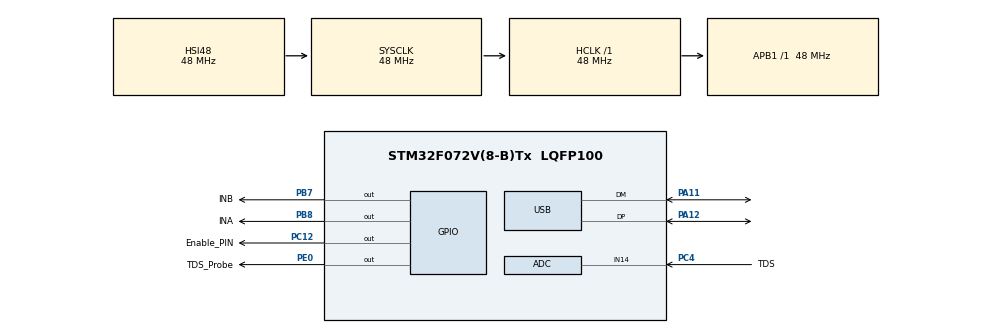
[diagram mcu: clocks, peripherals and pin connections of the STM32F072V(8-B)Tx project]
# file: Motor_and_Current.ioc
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Mcu.Family=STM32F0
Mcu.Name=STM32F072V(8-B)Tx
Mcu.Package=LQFP100
NVIC.USB_IRQn=true\:0\:0\:false\:false\:true\:false\:true\:true
PA11.Mode=Device
PA11.Signal=USB_DM
PA12.Mode=Device
PA12.Signal=USB_DP
PB0.Signal=ADC_IN8
PB1.Signal=ADC_IN9
PB7.GPIO_Label=INB
PB7.Signal=GPIO_Output
PB8.GPIO_Label=INA
PB8.Signal=GPIO_Output
PC12.GPIO_Label=Enable_PIN
PC12.Signal=GPIO_Output
PC4.GPIO_Label=TDS
PC4.Mode=IN14
PC4.Signal=ADC_IN14
PE0.GPIO_Label=TDS_Probe
PE0.Signal=GPIO_Output
ProjectManager.HeapSize=0x200
ProjectManager.StackSize=0x400
ProjectManager.TargetToolchain=STM32CubeIDE
RCC.AHBFreq_Value=48000000
RCC.APB1Freq_Value=48000000
RCC.APB1TimFreq_Value=48000000
RCC.HCLKFreq_Value=48000000
RCC.PLLSourceVirtual=RCC_PLLSOURCE_HSI48
RCC.SYSCLKFreq_VALUE=48000000
RCC.SYSCLKSource=RCC_SYSCLKSOURCE_HSI48
USB_DEVICE.CLASS_NAME_FS=CDC
USB_DEVICE.VirtualMode=Cdc
USB_DEVICE.VirtualModeFS=Cdc_FS
VP_USB_DEVICE_VS_USB_DEVICE_CDC_FS.Mode=CDC_FS
board=custom

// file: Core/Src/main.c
/* USER CODE BEGIN Header */
/**
  ******************************************************************************
  * @file           : main.c
  * @brief          : Main program body
  ******************************************************************************
  * @attention
  *
  * Copyright (c) 2024 STMicroelectronics.
  * All rights reserved.
  *
  * This software is licensed under terms that can be found in the LICENSE file
  * in the root directory of this software component.
  * If no LICENSE file comes with this software, it is provided AS-IS.
  *
  ******************************************************************************
  */
/* USER CODE END Header */
#include "main.h"
#include "usb_device.h"

ADC_HandleTypeDef hadc;

void SystemClock_Config(void);
static void MX_GPIO_Init(void);
static void MX_ADC_Init(void);

int main(void)
{
  /* USER CODE BEGIN 1 */
	char data[64] = {0};
  /* USER CODE END 1 */

  /* MCU Configuration--------------------------------------------------------*/

  /* Reset of all peripherals, Initializes the Flash interface and the Systick. */
  HAL_Init();

  /* Configure the system clock */
  SystemClock_Config();

  /* Initialize all configured peripherals */
  MX_GPIO_Init();
  MX_ADC_Init();
  MX_USB_DEVICE_Init();
  /* USER CODE BEGIN 2 */
		HAL_Delay (1000);
		HAL_GPIO_WritePin(INB_GPIO_Port, INB_Pin, GPIO_PIN_SET);

//		ADC_Select_CH8();

		// Start ADC Conversion
		HAL_ADC_Start(&hadc);
		// Poll ADC1 Peripheral & TimeOut = 1mSec
		HAL_ADC_PollForConversion(&hadc, 10);

		float adc_val = HAL_ADC_GetValue(&hadc); // get the adc value

		float Vref_PB0 = adc_val * 3.3/4096;

		HAL_GPIO_WritePin(INA_GPIO_Port, INA_Pin, GPIO_PIN_SET);

//		ADC_Select_CH9();
		// Start ADC Conversion
		HAL_ADC_Start(&hadc);
		// Poll ADC1 Peripheral & TimeOut = 1mSec
		HAL_ADC_PollForConversion(&hadc, 10);

		adc_val = HAL_ADC_GetValue(&hadc); // get the adc value
		float Vref_PB1 = adc_val * 3.3/4096;

		HAL_Delay (1000);

  /* USER CODE END 2 */

  /* Infinite loop */
  /* USER CODE BEGIN WHILE */

		// PB7 low >> -
		HAL_GPIO_WritePin(Enable_PIN_GPIO_Port, Enable_PIN_Pin, GPIO_PIN_SET);

		/*Configure GPIO pin Output Level */
		HAL_GPIO_WritePin(TDS_Probe_GPIO_Port, TDS_Probe_Pin, GPIO_PIN_SET);
		HAL_GPIO_WritePin(INB_GPIO_Port, INB_Pin, GPIO_PIN_RESET);
		HAL_GPIO_WritePin(INA_GPIO_Port, INA_Pin, GPIO_PIN_RESET);

		double voltage  = 0;
		double current = 0;
		//double ref = 0.467; //reference voltage (volts) when 0 current is flowing
		double sensitivity = 0.2 ; // volts/Amp
  /* USER CODE END 2 */

  /* Infinite loop */
  /* USER CODE BEGIN WHILE */
  while (1)
  {
//			ADC_Select_CH8();
			HAL_ADC_Start(&hadc);
			// Poll ADC1 Peripheral & TimeOut = 1mSec
			HAL_ADC_PollForConversion(&hadc, 100);

			adc_val = HAL_ADC_GetValue(&hadc); // get the adc value

//			voltage = adc_val * 3.3/4096; //reference voltage (volts) when 0 current is flowing

//			current = (voltage - Vref_PB0)/sensitivity;

			int len = sprintf(data, "RAW ADC Value %0.3f  voltage_PB1(volts) %0.3f \r\n",adc_val);//,voltage);

			CDC_Transmit_FS(data, len);

			HAL_ADC_Stop(&hadc);

    /* USER CODE END WHILE */

  }
}

void SystemClock_Config(void)
{
  RCC_OscInitTypeDef RCC_OscInitStruct = {0};
  RCC_ClkInitTypeDef RCC_ClkInitStruct = {0};
  RCC_PeriphCLKInitTypeDef PeriphClkInit = {0};

  /** Initializes the RCC Oscillators according to the specified parameters
  * in the RCC_OscInitTypeDef structure.
  */
  RCC_OscInitStruct.OscillatorType = RCC_OSCILLATORTYPE_HSI14|RCC_OSCILLATORTYPE_HSI48;
  RCC_OscInitStruct.HSI48State = RCC_HSI48_ON;
  RCC_OscInitStruct.HSI14State = RCC_HSI14_ON;
  RCC_OscInitStruct.HSI14CalibrationValue = 16;
  RCC_OscInitStruct.PLL.PLLState = RCC_PLL_NONE;
  if (HAL_RCC_OscConfig(&RCC_OscInitStruct) != HAL_OK)
  {
    Error_Handler();
  }

  /** Initializes the CPU, AHB and APB buses clocks
  */
  RCC_ClkInitStruct.ClockType = RCC_CLOCKTYPE_HCLK|RCC_CLOCKTYPE_SYSCLK
                              |RCC_CLOCKTYPE_PCLK1;
  RCC_ClkInitStruct.SYSCLKSource = RCC_SYSCLKSOURCE_HSI48;
  RCC_ClkInitStruct.AHBCLKDivider = RCC_SYSCLK_DIV1;
  RCC_ClkInitStruct.APB1CLKDivider = RCC_HCLK_DIV1;

  if (HAL_RCC_ClockConfig(&RCC_ClkInitStruct, FLASH_LATENCY_1) != HAL_OK)
  {
    Error_Handler();
  }
  PeriphClkInit.PeriphClockSelection = RCC_PERIPHCLK_USB;
  PeriphClkInit.UsbClockSelection = RCC_USBCLKSOURCE_HSI48;

  if (HAL_RCCEx_PeriphCLKConfig(&PeriphClkInit) != HAL_OK)
  {
    Error_Handler();
  }
}

static void MX_ADC_Init(void)
{

  ADC_ChannelConfTypeDef sConfig = {0};

  /** Configure the global features of the ADC (Clock, Resolution, Data Alignment and number of conversion)
  */
  hadc.Instance = ADC1;
  hadc.Init.ClockPrescaler = ADC_CLOCK_ASYNC_DIV1;
  hadc.Init.Resolution = ADC_RESOLUTION_12B;
  hadc.Init.DataAlign = ADC_DATAALIGN_RIGHT;
  hadc.Init.ScanConvMode = ADC_SCAN_DIRECTION_FORWARD;
  hadc.Init.EOCSelection = ADC_EOC_SINGLE_CONV;
  hadc.Init.LowPowerAutoWait = DISABLE;
  hadc.Init.LowPowerAutoPowerOff = DISABLE;
  hadc.Init.ContinuousConvMode = DISABLE;
  hadc.Init.DiscontinuousConvMode = DISABLE;
  hadc.Init.ExternalTrigConv = ADC_SOFTWARE_START;
  hadc.Init.ExternalTrigConvEdge = ADC_EXTERNALTRIGCONVEDGE_NONE;
  hadc.Init.DMAContinuousRequests = DISABLE;
  hadc.Init.Overrun = ADC_OVR_DATA_PRESERVED;
  if (HAL_ADC_Init(&hadc) != HAL_OK)
  {
    Error_Handler();
  }

  /** Configure for the selected ADC regular channel to be converted.
  */
  sConfig.Channel = ADC_CHANNEL_14;
  sConfig.Rank = ADC_RANK_CHANNEL_NUMBER;
  sConfig.SamplingTime = ADC_SAMPLETIME_1CYCLE_5;
  if (HAL_ADC_ConfigChannel(&hadc, &sConfig) != HAL_OK)
  {
    Error_Handler();
  }

}

static void MX_GPIO_Init(void)
{
  GPIO_InitTypeDef GPIO_InitStruct = {0};

  /* GPIO Ports Clock Enable */
  __HAL_RCC_GPIOC_CLK_ENABLE();
  __HAL_RCC_GPIOB_CLK_ENABLE();
  __HAL_RCC_GPIOA_CLK_ENABLE();
  __HAL_RCC_GPIOE_CLK_ENABLE();

  /*Configure GPIO pin Output Level */
  HAL_GPIO_WritePin(Enable_PIN_GPIO_Port, Enable_PIN_Pin, GPIO_PIN_RESET);

  /*Configure GPIO pin Output Level */
  HAL_GPIO_WritePin(GPIOB, INB_Pin|INA_Pin, GPIO_PIN_RESET);

  /*Configure GPIO pin Output Level */
  HAL_GPIO_WritePin(TDS_Probe_GPIO_Port, TDS_Probe_Pin, GPIO_PIN_RESET);

  /*Configure GPIO pin : Enable_PIN_Pin */
  GPIO_InitStruct.Pin = Enable_PIN_Pin;
  GPIO_InitStruct.Mode = GPIO_MODE_OUTPUT_PP;
  GPIO_InitStruct.Pull = GPIO_NOPULL;
  GPIO_InitStruct.Speed = GPIO_SPEED_FREQ_LOW;
  HAL_GPIO_Init(Enable_PIN_GPIO_Port, &GPIO_InitStruct);

  /*Configure GPIO pins : INB_Pin INA_Pin */
  GPIO_InitStruct.Pin = INB_Pin|INA_Pin;
  GPIO_InitStruct.Mode = GPIO_MODE_OUTPUT_PP;
  GPIO_InitStruct.Pull = GPIO_NOPULL;
  GPIO_InitStruct.Speed = GPIO_SPEED_FREQ_LOW;
  HAL_GPIO_Init(GPIOB, &GPIO_InitStruct);

  /*Configure GPIO pin : TDS_Probe_Pin */
  GPIO_InitStruct.Pin = TDS_Probe_Pin;
  GPIO_InitStruct.Mode = GPIO_MODE_OUTPUT_PP;
  GPIO_InitStruct.Pull = GPIO_NOPULL;
  GPIO_InitStruct.Speed = GPIO_SPEED_FREQ_LOW;
  HAL_GPIO_Init(TDS_Probe_GPIO_Port, &GPIO_InitStruct);

}

/* USER CODE BEGIN 4 */
void ADC_Select_CH8 (void)
{
	ADC_ChannelConfTypeDef sConfig = {0};
	  /** Configure for the selected ADC regular channel its corresponding rank in the sequencer and its sample time.
	  */
	sConfig.Channel = ADC_CHANNEL_9;
			  sConfig.Rank = ADC_RANK_NONE;
			  sConfig.SamplingTime = ADC_SAMPLETIME_1CYCLE_5;
			  if (HAL_ADC_ConfigChannel(&hadc, &sConfig) != HAL_OK)
			  {
			    Error_Handler();
			  }

	  sConfig.Channel = ADC_CHANNEL_8;
	  sConfig.Rank = ADC_RANK_CHANNEL_NUMBER;
	  sConfig.SamplingTime = ADC_SAMPLETIME_1CYCLE_5;
	  if (HAL_ADC_ConfigChannel(&hadc, &sConfig) != HAL_OK)
	  {
	    Error_Handler();
	  }
}
void ADC_Select_CH9 (void)
{
	ADC_ChannelConfTypeDef sConfig = {0};
	  /** Configure for the selected ADC regular channel its corresponding rank in the sequencer and its sample time.
	  */
	sConfig.Channel = ADC_CHANNEL_8;
		  sConfig.Rank = ADC_RANK_NONE;
		  sConfig.SamplingTime = ADC_SAMPLETIME_1CYCLE_5;
		  if (HAL_ADC_ConfigChannel(&hadc, &sConfig) != HAL_OK)
		  {
		    Error_Handler();
		  }

	  sConfig.Channel = ADC_CHANNEL_9;
	  sConfig.Rank = ADC_RANK_CHANNEL_NUMBER;
	  sConfig.SamplingTime = ADC_SAMPLETIME_1CYCLE_5;
	  if (HAL_ADC_ConfigChannel(&hadc, &sConfig) != HAL_OK)
	  {
	    Error_Handler();
	  }
}

/* USER CODE END 4 */

void Error_Handler(void)
{
  __disable_irq();
  while (1)
  {
  }
}

#ifdef  USE_FULL_ASSERT
/**
  * @brief  Reports the name of the source file and the source line number
  *         where the assert_param error has occurred.
  * @param  file: pointer to the source file name
  * @param  line: assert_param error line source number
  * @retval None
  */
void assert_failed(uint8_t *file, uint32_t line)
{
  /* USER CODE BEGIN 6 */
	char data[250];
  /* User can add his own implementation to report the file name and line number,
     ex: printf("Wrong parameters value: file %s on line %d\r\n", file, line) */
	uint32_t len = sprintf(data, "ERROR@%s  on line %d\r\n", file, line);
	CDC_Transmit_FS(data, len);
  /* USER CODE END 6 */
}
#endif /* USE_FULL_ASSERT */
